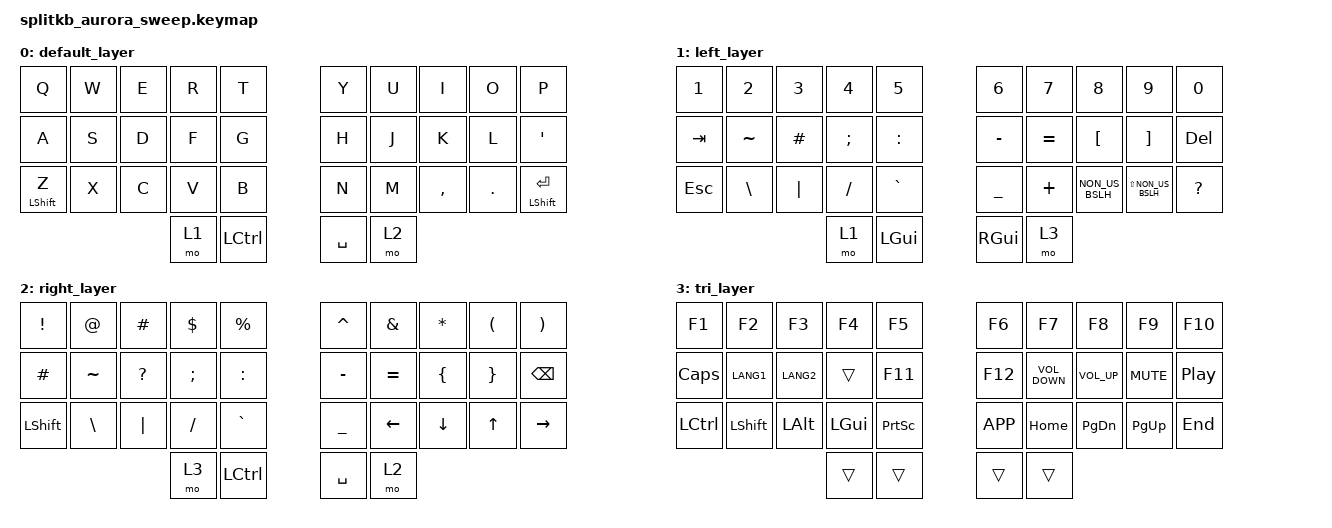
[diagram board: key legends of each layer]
/*
 * Copyright (c) 2022 The ZMK Contributors
 *
 * SPDX-License-Identifier: MIT
 */

#include <behaviors.dtsi>
#include <dt-bindings/zmk/keys.h>

&mt {
    // flavor = "tap-preferred";
    // tapping_term_ms = <200>;
};

/ {
    combos {
        compatible = "zmk,combos";

        combo_esc {
            timeout-ms = <50>;
            key-positions = <0 1>;
            bindings = <&kp ESC>;
        };

        combo_tab {
            timeout-ms = <50>;
            key-positions = <10 11>;
            bindings = <&kp TAB>;
        };

        combo_ralt {
            timeout-ms = <50>;
            key-positions = <11 12>;
            bindings = <&kp RALT>;
        };

        combo_rgui {
            timeout-ms = <50>;
            key-positions = <12 13>;
            bindings = <&kp RGUI>;
        };

        combo_lalt {
            timeout-ms = <50>;
            key-positions = <16 17>;
            bindings = <&kp LALT>;
        };

        combo_lgui {
            timeout-ms = <50>;
            key-positions = <17 18>;
            bindings = <&kp LGUI>;
        };
    };

    keymap {
        compatible = "zmk,keymap";

        default_layer {
            bindings = <
&kp Q         &kp W      &kp E  &kp R  &kp T    &kp Y  &kp U  &kp I      &kp O      &kp P
&kp A         &kp S      &kp D  &kp F  &kp G    &kp H  &kp J  &kp K      &kp L      &kp SQT
&mt LSHIFT Z  &kp X      &kp C  &kp V  &kp B    &kp N  &kp M  &kp COMMA  &kp DOT    &mt LSHIFT RET
&mo 1         &kp LCTRL                                                  &kp SPACE  &mo 2
            >;
        };

        left_layer {
            bindings = <
&kp N1   &kp N2     &kp N3    &kp N4    &kp N5       &kp N6     &kp N7     &kp N8           &kp N9               &kp N0
&kp TAB  &kp TILDE  &kp HASH  &kp SEMI  &kp COLON    &kp MINUS  &kp EQUAL  &kp LBKT         &kp RBKT             &kp DEL
&kp ESC  &kp BSLH   &kp PIPE  &kp FSLH  &kp GRAVE    &kp UNDER  &kp PLUS   &kp NON_US_BSLH  &kp LS(NON_US_BSLH)  &kp QMARK
&mo 1    &kp LGUI                                                                           &kp RGUI             &mo 3
            >;
        };

        right_layer {
            bindings = <
&kp EXCL    &kp AT     &kp HASH   &kp DLLR  &kp PRCNT    &kp CARET  &kp AMPS   &kp STAR  &kp LPAR   &kp RPAR
&kp HASH    &kp TILDE  &kp QMARK  &kp SEMI  &kp COLON    &kp MINUS  &kp EQUAL  &kp LBRC  &kp RBRC   &kp BSPC
&kp LSHIFT  &kp BSLH   &kp PIPE   &kp FSLH  &kp GRAVE    &kp UNDER  &kp LEFT   &kp DOWN  &kp UP     &kp RIGHT
&mo 3       &kp LCTRL                                                                    &kp SPACE  &mo 2
            >;
        };

        tri_layer {
            bindings = <
&kp F1        &kp F2      &kp F3     &kp F4        &kp F5             &kp F6     &kp F7             &kp F8        &kp F9      &kp F10
&kp CAPSLOCK  &kp LANG1   &kp LANG2  &trans        &kp F11            &kp F12    &kp C_VOLUME_DOWN  &kp C_VOL_UP  &kp C_MUTE  &kp C_PLAY_PAUSE
&kp LCTRL     &kp LSHIFT  &kp LALT   &kp LEFT_GUI  &kp PRINTSCREEN    &kp K_APP  &kp HOME           &kp PG_DN     &kp PG_UP   &kp END
&trans        &trans                                                                                              &trans      &trans
            >;
        };
    };
};
